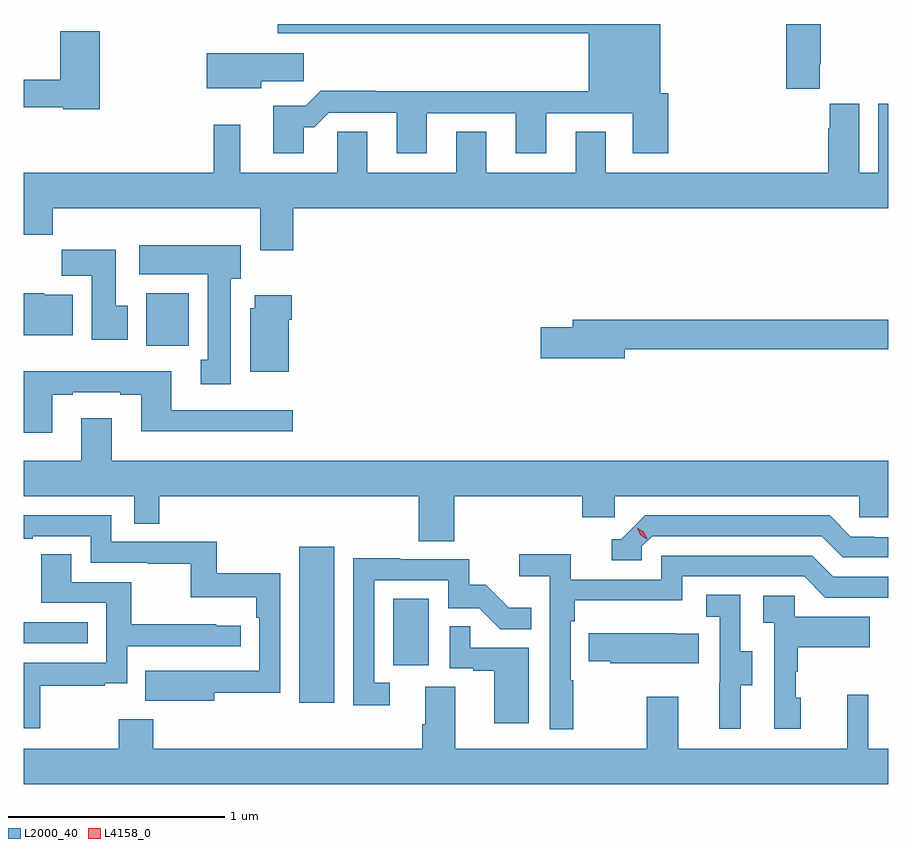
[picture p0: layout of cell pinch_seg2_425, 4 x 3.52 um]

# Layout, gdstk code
import gdstk
lib = gdstk.Library(unit=1e-6, precision=1e-09)
def R(c, l, rs):  # rectangles x0, y0, x1, y1
    for r in rs: c.add(gdstk.rectangle(r[:2], r[2:], *l))
def P(c, l, *ps):  # polygons
    for p in ps: c.add(gdstk.Polygon(p, *l))
L2000_40 = (2000, 40)
L4158_0 = (4158, 0)

pinch_seg2_425 = lib.new_cell('pinch_seg2_425')
R(pinch_seg2_425, L2000_40, [(912.581,620.04,912.742,620.761), (913.016,620.214,913.18,620.521), (911.306,620.316,911.603,620.412), (911.873,621.692,912.07,621.934)])
P(pinch_seg2_425, L2000_40, [(912.601,622.703),(912.65,622.703),(912.717,622.77),(913.031,622.77),(913.031,622.581),(913.171,622.581),(913.171,622.767),(913.583,622.767),(913.583,622.581),(913.723,622.581),(913.723,622.767),(914.123,622.767),(914.123,622.581),(914.288,622.581),(914.288,622.86),(914.251,622.86),(914.251,623.18),(912.482,623.18),(912.482,623.138),(913.919,623.138),(913.919,622.868),(912.935,622.868),(912.935,622.871),(912.68,622.871),(912.61,622.801),(912.461,622.801),(912.461,622.581),(912.601,622.581)],
  [(914.989,622.993),(914.994,622.993),(914.994,623.18),(914.834,623.18),(914.834,622.881),(914.989,622.881)],
  [(911.657,623.146),(911.474,623.146),(911.474,622.922),(911.306,622.922),(911.306,622.794),(911.49,622.794),(911.49,622.786),(911.657,622.786)],
  [(912.406,622.915),(912.601,622.915),(912.601,623.044),(912.152,623.044),(912.152,622.883),(912.406,622.883)],
  [(912.554,622.328),(915.306,622.328),(915.306,622.81),(915.26,622.81),(915.26,622.492),(915.172,622.492),(915.172,622.81),(915.035,622.81),(915.035,622.697),(915.029,622.697),(915.029,622.492),(913.999,622.492),(913.999,622.682),(913.859,622.682),(913.859,622.492),(913.447,622.492),(913.447,622.682),(913.307,622.682),(913.307,622.492),(912.895,622.492),(912.895,622.682),(912.756,622.682),(912.756,622.492),(912.307,622.492),(912.307,622.714),(912.186,622.714),(912.186,622.492),(911.306,622.492),(911.306,622.204),(911.441,622.204),(911.441,622.328),(912.401,622.328),(912.401,622.134),(912.554,622.134)],
  [(912.265,622.002),(912.31,622.002),(912.31,622.156),(911.841,622.156),(911.841,622.022),(912.158,622.022),(912.158,621.626),(912.125,621.626),(912.125,621.513),(912.265,621.513)],
  [(911.788,621.876),(911.731,621.876),(911.731,622.135),(911.482,622.135),(911.482,622.016),(911.621,622.016),(911.621,621.72),(911.788,621.72)],
  [(911.533,621.928),(911.4,621.928),(911.4,621.934),(911.306,621.934),(911.306,621.74),(911.533,621.74)],
  [(912.532,621.812),(912.545,621.812),(912.545,621.925),(912.374,621.925),(912.374,621.864),(912.353,621.864),(912.353,621.572),(912.532,621.572)],
  [(914.086,621.676),(915.306,621.676),(915.306,621.812),(913.847,621.812),(913.847,621.776),(913.698,621.776),(913.698,621.634),(914.086,621.634)],
  [(911.437,621.465),(911.533,621.465),(911.533,621.477),(911.753,621.477),(911.753,621.465),(911.849,621.465),(911.849,621.296),(912.55,621.296),(912.55,621.393),(911.989,621.393),(911.989,621.574),(911.306,621.574),(911.306,621.288),(911.437,621.288)],
  [(913.298,620.996),(913.889,620.996),(913.889,620.898),(914.04,620.898),(914.04,620.996),(915.171,620.996),(915.171,620.898),(915.306,620.898),(915.306,621.16),(911.713,621.16),(911.713,621.355),(911.573,621.355),(911.573,621.16),(911.306,621.16),(911.306,620.996),(911.817,620.996),(911.817,620.869),(911.933,620.869),(911.933,620.996),(913.133,620.996),(913.133,620.788),(913.298,620.788)],
  [(914.166,620.763),(914.214,620.811),(914.997,620.811),(915.096,620.712),(915.306,620.712),(915.306,620.805),(915.24,620.805),(915.24,620.808),(915.133,620.808),(915.034,620.907),(914.181,620.907),(914.07,620.796),(914.027,620.796),(914.027,620.7),(914.166,620.7)],
  [(912.187,620.086),(912.492,620.086),(912.492,620.638),(912.199,620.638),(912.199,620.784),(911.712,620.784),(911.712,620.907),(911.306,620.907),(911.306,620.799),(911.347,620.799),(911.347,620.811),(911.616,620.811),(911.616,620.688),(911.881,620.688),(911.881,620.683),(912.078,620.683),(912.078,620.528),(912.383,620.528),(912.383,620.432),(912.396,620.432),(912.396,620.187),(912.083,620.187),(912.083,620.188),(911.869,620.188),(911.869,620.048),(912.187,620.048)],
  [(911.383,620.118),(911.681,620.118),(911.681,620.129),(911.784,620.129),(911.784,620.301),(912.31,620.301),(912.31,620.397),(912.197,620.397),(912.197,620.402),(911.804,620.402),(911.804,620.598),(911.527,620.598),(911.527,620.726),(911.387,620.726),(911.387,620.502),(911.688,620.502),(911.688,620.226),(911.306,620.226),(911.306,619.923),(911.383,619.923)],
  [(913.849,620.144),(913.836,620.144),(913.836,620.417),(913.856,620.417),(913.856,620.513),(914.352,620.513),(914.352,620.625),(914.916,620.625),(915.015,620.526),(915.306,620.526),(915.306,620.622),(915.052,620.622),(914.953,620.721),(914.256,620.721),(914.256,620.61),(913.838,620.61),(913.838,620.726),(913.599,620.726),(913.599,620.624),(913.74,620.624),(913.74,619.917),(913.849,619.917)],
  [(913,620.133),(912.927,620.133),(912.927,620.607),(913.269,620.607),(913.269,620.478),(913.413,620.478),(913.511,620.38),(913.655,620.38),(913.655,620.479),(913.551,620.479),(913.444,620.586),(913.368,620.586),(913.368,620.703),(913.049,620.703),(913.049,620.708),(912.831,620.708),(912.831,620.028),(913,620.028)],
  [(914.623,620.122),(914.677,620.122),(914.677,620.277),(914.622,620.277),(914.622,620.54),(914.463,620.54),(914.463,620.437),(914.526,620.437),(914.526,620.133),(914.525,620.133),(914.525,619.92),(914.623,619.92)],
  [(914.902,620.064),(914.877,620.064),(914.877,620.183),(914.887,620.183),(914.887,620.297),(915.221,620.297),(915.221,620.437),(914.874,620.437),(914.874,620.535),(914.727,620.535),(914.727,620.411),(914.778,620.411),(914.778,619.92),(914.902,619.92)],
  [(913.642,620.295),(913.373,620.295),(913.373,620.393),(913.278,620.393),(913.278,620.199),(913.385,620.199),(913.385,620.187),(913.484,620.187),(913.484,619.944),(913.642,619.944)],
  [(914.429,620.359),(914.321,620.359),(914.321,620.362),(913.921,620.362),(913.921,620.233),(914.019,620.233),(914.019,620.222),(914.429,620.222)],
  [(915.116,620.077),(915.116,619.828),(914.335,619.828),(914.335,620.068),(914.188,620.068),(914.188,619.828),(913.303,619.828),(913.303,620.114),(913.163,620.114),(913.163,619.94),(913.151,619.94),(913.151,619.828),(911.906,619.828),(911.906,619.963),(911.746,619.963),(911.746,619.828),(911.306,619.828),(911.306,619.664),(915.306,619.664),(915.306,619.828),(915.213,619.828),(915.213,620.077)])
P(pinch_seg2_425, L4158_0, [(914.189,620.797),(914.159,620.817),(914.144,620.85),(914.144,620.85),(914.145,620.85),(914.175,620.83),(914.19,620.797),(914.19,620.797)])

lib.write_gds('pinch_seg2_425.gds')
